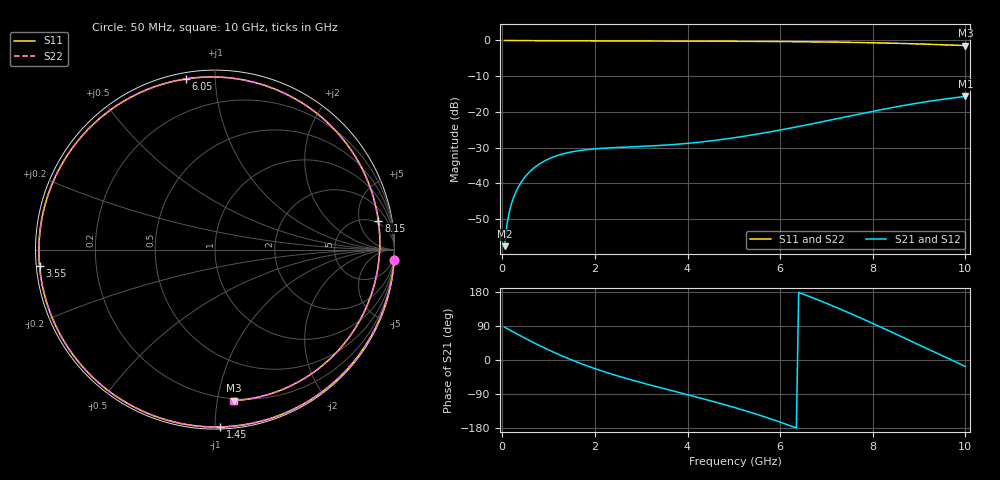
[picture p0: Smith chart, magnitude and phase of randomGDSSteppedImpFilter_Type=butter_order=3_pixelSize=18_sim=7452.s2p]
! freq	dB(S11)	phase(S11)	dB(S12)	phase(S12)
!  dB(S21)	phase(S21)	dB(S22)	phase(S22)
!S-par simulation data
#  GHz  S  DB  R 50
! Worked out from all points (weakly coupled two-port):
!   200 points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, 50 MHz to 10 GHz, reference 50 ohm
!   highest |S21| = -15.66 dB at 10 GHz (marker M1); lowest = -57.5 dB at 50 MHz (marker M2)
!   lowest |S11| = -1.4 dB at 10 GHz (marker M3), VSWR 12.13, Z = 9.31 - j55.7 ohm
!   |S11| at or under -10 dB: nowhere
!   |S22| runs from -1.4 to 0.0 dB; largest |S21 - S12| = 0
!   S11 on the Smith chart (normalised r, x): 50 MHz: 0, -34; 1.45 GHz: 0.01, -1.03; 3.55 GHz: 0.01, -0.05; 6.05 GHz: 0.03, +0.84; 8.15 GHz: 4, +9; 10 GHz: 0.19, -1.11
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0.05  -0.00 -3.4  -57.54 86.5  -57.54 86.5  -0.00 -3.4
0.1  -0.01 -6.7  -51.54 83.1  -51.54 83.1  -0.01 -6.7
0.2  -0.02 -13.4  -45.60 76.4  -45.60 76.4  -0.02 -13.4
0.45  -0.04 -29.7  -38.86 60.1  -38.86 60.1  -0.04 -29.7
0.95  -0.07 -60.7  -33.45 29.5  -33.45 29.5  -0.07 -60.7
1.45  -0.10 -88.4  -31.30 2.5  -31.30 2.5  -0.10 -88.4
1.75  -0.11 -103.3  -30.65 -11.8  -30.65 -11.8  -0.11 -103.4
2.55  -0.13 -138.1  -29.89 -44.1  -29.89 -44.1  -0.13 -138.1
3.4  -0.15 -169.5  -29.37 -72.6  -29.37 -72.6  -0.16 -169.5
3.55  -0.16 -174.7  -29.24 -77.4  -29.24 -77.4  -0.16 -174.7
4.3  -0.19 160.1  -28.39 -101.1  -28.39 -101.1  -0.19 160.1
5.05  -0.23 135.1  -27.14 -126.6  -27.14 -126.6  -0.23 135.1
5.55  -0.27 117.8  -26.10 -145.5  -26.10 -145.5  -0.27 117.8
6.05  -0.31 99.7  -24.94 -166.1  -24.94 -166.1  -0.31 99.7
6.7  -0.39 74.5  -23.29 164.3  -23.29 164.3  -0.39 74.5
7.4  -0.50 44.8  -21.42 129.0  -21.42 129.0  -0.50 44.7
8.15  -0.68 10.0  -19.45 88.1  -19.45 88.1  -0.68 9.9
8.35  -0.74 0.3  -18.95 76.9  -18.95 76.9  -0.75 0.2
8.8  -0.90 -22.0  -17.89 51.2  -17.89 51.2  -0.90 -22.1
9.25  -1.08 -44.7  -16.94 25.4  -16.94 25.4  -1.08 -44.9
9.65  -1.26 -65.1  -16.21 2.6  -16.21 2.6  -1.27 -65.3
10  -1.43 -82.9  -15.66 -17.1  -15.66 -17.1  -1.44 -83.1
